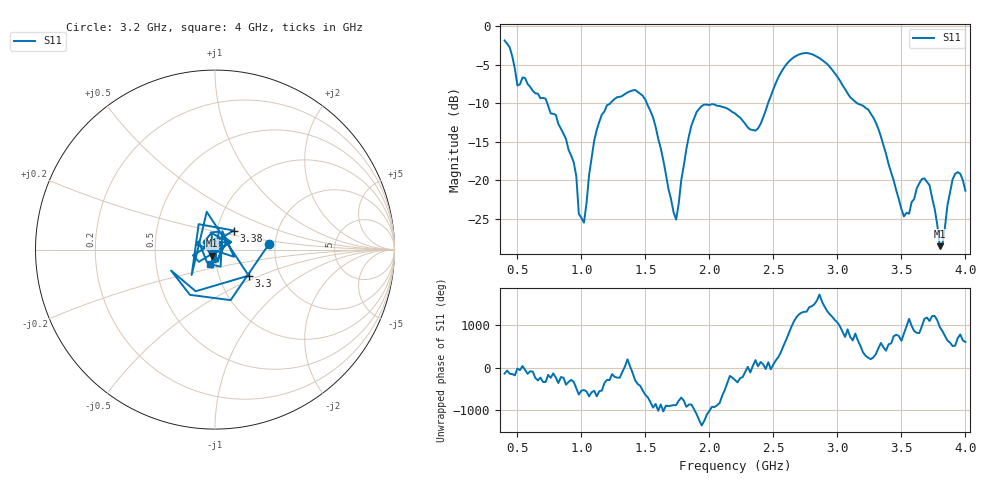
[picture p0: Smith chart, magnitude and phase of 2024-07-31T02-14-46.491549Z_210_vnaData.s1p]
!Created with skrf (http://scikit-rf.org).
# Hz S RI R 50.0
!freq ReS11 ImS11
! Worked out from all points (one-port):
!   181 points, 400 MHz to 4 GHz, reference 50 ohm
!   lowest |S11| = -28.5 dB at 3.8 GHz (marker M1), VSWR 1.08, Z = 48.2 - j3.23 ohm
!   |S11| at or under -10 dB: 732.9 MHz to 1.226 GHz (493.3 MHz wide, 50.4 % of centre); 1.511 GHz to 2.458 GHz (947.3 MHz wide, 47.7 % of centre); 3.154 GHz to end of sweep
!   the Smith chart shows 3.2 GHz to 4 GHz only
!   S11 on the Smith chart (normalised r, x): 3.2 GHz: 1.86, +0.14; 3.3 GHz: 1.39, -0.43; 3.38 GHz: 1.20, +0.26; 4 GHz: 0.94, -0.15
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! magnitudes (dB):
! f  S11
! 400 MHz  -1.9
! 500 MHz  -7.7
! 720 MHz  -9.4
! 860 MHz  -14.0
! 940 MHz  -17.7
! 980 MHz  -24.3
! 1.02 GHz  -25.5
! 1.12 GHz  -13.4
! 1.3 GHz  -9.2
! 1.5 GHz  -9.6
! 1.72 GHz  -24.1
! 1.76 GHz  -23.0
! 1.9 GHz  -11.1
! 2.2 GHz  -11.3
! 2.38 GHz  -13.3
! 2.66 GHz  -4.0
! 2.88 GHz  -4.4
! 3.1 GHz  -9.2
! 3.2 GHz  -10.3
! 3.3 GHz  -12.5
! 3.38 GHz  -16.5
! 3.52 GHz  -24.7
! 3.56 GHz  -24.3
! 3.68 GHz  -19.7
! 3.72 GHz  -20.6
! 3.8 GHz  -28.5
! 3.92 GHz  -19.1
! 4 GHz  -21.3
